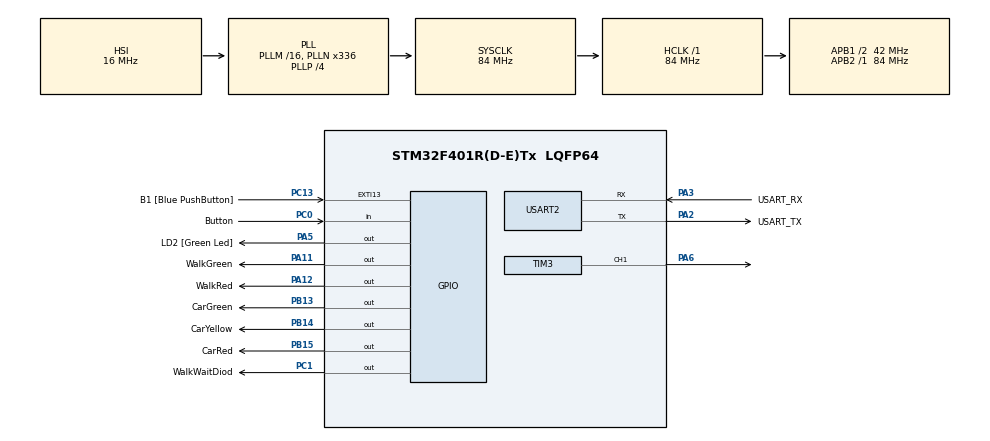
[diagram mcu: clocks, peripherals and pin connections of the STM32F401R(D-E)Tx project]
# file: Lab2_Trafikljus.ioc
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Mcu.Family=STM32F4
Mcu.Name=STM32F401R(D-E)Tx
Mcu.Package=LQFP64
NVIC.EXTI15_10_IRQn=true\:0\:0\:false\:false\:true\:true\:true\:true
NVIC.PriorityGroup=NVIC_PRIORITYGROUP_0
PA11.GPIO_Label=WalkGreen
PA11.Signal=GPIO_Output
PA12.GPIO_Label=WalkRed
PA12.Signal=GPIO_Output
PA13.GPIO_Label=TMS
PA13.Mode=Serial_Wire
PA13.Signal=SYS_JTMS-SWDIO
PA14.GPIO_Label=TCK
PA14.Mode=Serial_Wire
PA14.Signal=SYS_JTCK-SWCLK
PA2.GPIO_Label=USART_TX
PA2.GPIO_Mode=GPIO_MODE_AF_PP
PA2.GPIO_PuPd=GPIO_NOPULL
PA2.GPIO_Speed=GPIO_SPEED_FREQ_LOW
PA2.Mode=Asynchronous
PA2.Signal=USART2_TX
PA3.GPIO_Label=USART_RX
PA3.GPIO_Mode=GPIO_MODE_AF_PP
PA3.GPIO_PuPd=GPIO_NOPULL
PA3.GPIO_Speed=GPIO_SPEED_FREQ_LOW
PA3.Mode=Asynchronous
PA3.Signal=USART2_RX
PA5.GPIO_Label=LD2 [Green Led]
PA5.GPIO_Mode=GPIO_MODE_OUTPUT_PP
PA5.GPIO_PuPd=GPIO_NOPULL
PA5.GPIO_Speed=GPIO_SPEED_FREQ_LOW
PA5.Signal=GPIO_Output
PA6.Signal=S_TIM3_CH1
PB13.GPIO_Label=CarGreen
PB13.Signal=GPIO_Output
PB14.GPIO_Label=CarYellow
PB14.Signal=GPIO_Output
PB15.GPIO_Label=CarRed
PB15.Signal=GPIO_Output
PB3.GPIO_Label=SWO
PB3.Signal=SYS_JTDO-SWO
PC0.GPIO_Label=Button
PC0.Signal=GPIO_Input
PC1.GPIO_Label=WalkWaitDiod
PC1.Signal=GPIO_Output
PC13-ANTI_TAMP.GPIO_Label=B1 [Blue PushButton]
PC13-ANTI_TAMP.GPIO_ModeDefaultEXTI=GPIO_MODE_IT_FALLING
PC13-ANTI_TAMP.GPIO_PuPd=GPIO_NOPULL
PC13-ANTI_TAMP.Signal=GPXTI13
PC14-OSC32_IN.Mode=LSE-External-Oscillator
PC14-OSC32_IN.Signal=RCC_OSC32_IN
PC15-OSC32_OUT.Mode=LSE-External-Oscillator
PC15-OSC32_OUT.Signal=RCC_OSC32_OUT
PH0\ -\ OSC_IN.Mode=HSE-External-Clock-Source
PH0\ -\ OSC_IN.Signal=RCC_OSC_IN
PH1\ -\ OSC_OUT.Mode=HSE-External-Clock-Source
PH1\ -\ OSC_OUT.Signal=RCC_OSC_OUT
ProjectManager.HeapSize=0x200
ProjectManager.StackSize=0x400
ProjectManager.TargetToolchain=STM32CubeIDE
RCC.48MHZClocksFreq_Value=48000000
RCC.AHBFreq_Value=84000000
RCC.APB1CLKDivider=RCC_HCLK_DIV2
RCC.APB1Freq_Value=42000000
RCC.APB1TimFreq_Value=84000000
RCC.APB2Freq_Value=84000000
RCC.APB2TimFreq_Value=84000000
RCC.CortexFreq_Value=84000000
RCC.HCLKFreq_Value=84000000
RCC.HSE_VALUE=8000000
RCC.HSI_VALUE=16000000
RCC.PLLN=336
RCC.PLLP=RCC_PLLP_DIV4
RCC.PLLQ=7
RCC.SYSCLKFreq_VALUE=84000000
RCC.SYSCLKSource=RCC_SYSCLKSOURCE_PLLCLK
RCC.VCOOutputFreq_Value=336000000
SH.S_TIM3_CH1.0=TIM3_CH1,PWM Generation1 CH1
TIM3.Channel-PWM\ Generation1\ CH1=TIM_CHANNEL_1
USART2.VirtualMode=VM_ASYNC
VP_TIM3_VS_ClockSourceINT.Mode=Internal
board=NUCLEO-F401RE

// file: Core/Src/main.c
/* USER CODE BEGIN Header */
/**
  ******************************************************************************
  * @file           : main.c
  * @brief          : Main program body
  ******************************************************************************
  * @attention
  *
  * Copyright (c) 2024 STMicroelectronics.
  * All rights reserved.
  *
  * This software is licensed under terms that can be found in the LICENSE file
  * in the root directory of this software component.
  * If no LICENSE file comes with this software, it is provided AS-IS.
  *
  ******************************************************************************
  */
/* USER CODE END Header */
#include "main.h"
#include "abuzz.h"

TIM_HandleTypeDef htim3;

UART_HandleTypeDef huart2;

void SystemClock_Config(void);
static void MX_GPIO_Init(void);
static void MX_USART2_UART_Init(void);
static void MX_TIM3_Init(void);

/* USER CODE BEGIN PFP */
int systick_count = 0;
uint32_t ticks_left_in_state = 0;
/* USER CODE END PFP */

/* USER CODE BEGIN 0 */
enum event
{
	ev_none = 0,
	ev_button_push,
	ev_state_timeout,
	ev_error = -99
};

#define EVQ_SIZE 10

enum event evq[ EVQ_SIZE ];
int evq_count 		= 0;
int evq_front_ix	= 0;
int evq_rear_ix 	= 0;

enum state
{
	s_init,
	s_car_go,
	s_pushed_wait,
	s_cars_stopping,
	s_walk_go,
	s_walk_wait,
	s_car_ready,
	s_car_start
};

void set_traffic_lights(enum state s)
{
    switch(s)
    {
        case s_init:
            // Sätt alla lampor på

            HAL_GPIO_WritePin(GPIOB, GPIO_PIN_15, GPIO_PIN_SET);
            HAL_GPIO_WritePin(GPIOB, GPIO_PIN_14, GPIO_PIN_SET);
            HAL_GPIO_WritePin(GPIOB, GPIO_PIN_13, GPIO_PIN_SET);
            HAL_GPIO_WritePin(GPIOA, GPIO_PIN_12, GPIO_PIN_SET);
            HAL_GPIO_WritePin(GPIOA, GPIO_PIN_11, GPIO_PIN_SET);

            break;

        case s_car_go:
        	//001 10
            HAL_GPIO_WritePin(GPIOB, GPIO_PIN_15, GPIO_PIN_RESET);
            HAL_GPIO_WritePin(GPIOB, GPIO_PIN_14, GPIO_PIN_RESET);
            HAL_GPIO_WritePin(GPIOB, GPIO_PIN_13, GPIO_PIN_SET);
            HAL_GPIO_WritePin(GPIOA, GPIO_PIN_12, GPIO_PIN_SET);
            HAL_GPIO_WritePin(GPIOA, GPIO_PIN_11, GPIO_PIN_RESET);
            break;

        case s_pushed_wait:
        	//010 10
            HAL_GPIO_WritePin(GPIOB, GPIO_PIN_15, GPIO_PIN_RESET);
            HAL_GPIO_WritePin(GPIOB, GPIO_PIN_14, GPIO_PIN_SET);
            HAL_GPIO_WritePin(GPIOB, GPIO_PIN_13, GPIO_PIN_RESET);
            HAL_GPIO_WritePin(GPIOA, GPIO_PIN_12, GPIO_PIN_SET);
            HAL_GPIO_WritePin(GPIOA, GPIO_PIN_11, GPIO_PIN_RESET);
            break;

        case s_cars_stopping:
        	//100 10
            HAL_GPIO_WritePin(GPIOB, GPIO_PIN_15, GPIO_PIN_SET);
            HAL_GPIO_WritePin(GPIOB, GPIO_PIN_14, GPIO_PIN_RESET);
            HAL_GPIO_WritePin(GPIOB, GPIO_PIN_13, GPIO_PIN_RESET);
            HAL_GPIO_WritePin(GPIOA, GPIO_PIN_12, GPIO_PIN_SET);
            HAL_GPIO_WritePin(GPIOA, GPIO_PIN_11, GPIO_PIN_RESET);
            break;

        case s_walk_go:
        	//100 01
            HAL_GPIO_WritePin(GPIOB, GPIO_PIN_15, GPIO_PIN_SET);
            HAL_GPIO_WritePin(GPIOB, GPIO_PIN_14, GPIO_PIN_RESET);
            HAL_GPIO_WritePin(GPIOB, GPIO_PIN_13, GPIO_PIN_RESET);
            HAL_GPIO_WritePin(GPIOA, GPIO_PIN_12, GPIO_PIN_RESET);
            HAL_GPIO_WritePin(GPIOA, GPIO_PIN_11, GPIO_PIN_SET);
            break;

        case s_walk_wait:
        	//100 10
            HAL_GPIO_WritePin(GPIOB, GPIO_PIN_15, GPIO_PIN_SET);
            HAL_GPIO_WritePin(GPIOB, GPIO_PIN_14, GPIO_PIN_RESET);
            HAL_GPIO_WritePin(GPIOB, GPIO_PIN_13, GPIO_PIN_RESET);
            HAL_GPIO_WritePin(GPIOA, GPIO_PIN_12, GPIO_PIN_SET);
            HAL_GPIO_WritePin(GPIOA, GPIO_PIN_11, GPIO_PIN_RESET);
            break;

        case s_car_ready:
        	//110 10
            HAL_GPIO_WritePin(GPIOB, GPIO_PIN_15, GPIO_PIN_SET);
            HAL_GPIO_WritePin(GPIOB, GPIO_PIN_14, GPIO_PIN_SET);
            HAL_GPIO_WritePin(GPIOB, GPIO_PIN_13, GPIO_PIN_RESET);
            HAL_GPIO_WritePin(GPIOA, GPIO_PIN_12, GPIO_PIN_SET);
            HAL_GPIO_WritePin(GPIOA, GPIO_PIN_11, GPIO_PIN_RESET);
            break;

        case s_car_start:
        	//001 10
            HAL_GPIO_WritePin(GPIOB, GPIO_PIN_15, GPIO_PIN_RESET);
            HAL_GPIO_WritePin(GPIOB, GPIO_PIN_14, GPIO_PIN_RESET);
            HAL_GPIO_WritePin(GPIOB, GPIO_PIN_13, GPIO_PIN_SET);
            HAL_GPIO_WritePin(GPIOA, GPIO_PIN_12, GPIO_PIN_SET);
            HAL_GPIO_WritePin(GPIOA, GPIO_PIN_11, GPIO_PIN_RESET);
            break;

        default:

            break;
    }
}

int is_button_pressed()
{
    uint32_t reg_reading = GPIOC->IDR;
    if((reg_reading & 1 << 13) == 0)
        return 1;
    else
        return 0;
}

/*
void update_tick(uint32_t* last_tick, int* ticks_left_in_state, int* timeout_handled)
{
    uint32_t curr_tick = HAL_GetTick(); // Hämta nuvarande tick-värde

    // Kontrollera om ett nytt tick har gått (1 millisekund)
    if (curr_tick > *last_tick)
        {
            (*last_tick) = curr_tick;  // Uppdatera senast lästa tick

            // Minska ticks_left_in_state om det är större än 0
            if ((*ticks_left_in_state) > 0)
            {
                (*ticks_left_in_state)--;

                // Kontrollera om tiden har nått 0 och om det inte redan är hanterat
                if ((*ticks_left_in_state) == 0 && !(*timeout_handled))
                {
                    (*timeout_handled) = 1;  // Sätt flagga för att undvika dubbelhantering
                }
            }
        }
}
*/

void evq_push_back(enum event e)
{
	//if queue is full, ignore e
	if (evq_count < EVQ_SIZE){
		evq[evq_rear_ix] = e;
		evq_rear_ix++;
		evq_rear_ix%= EVQ_SIZE;
		evq_count++;
	}
}
enum event evq_pop_front()
{
	enum event e = ev_none;
	if (evq_count > 0)
	{
		e = evq[evq_front_ix];
		evq[evq_front_ix] = ev_error;
		evq_front_ix++;
		evq_front_ix %= EVQ_SIZE;
		evq_count--;
	}
	return e;
}

void my_systick_handler()
{
	systick_count++;
	if (systick_count == 1000)
	{
		HAL_GPIO_TogglePin(LD2_GPIO_Port, LD2_Pin);
		systick_count = 0;
	}
	if (ticks_left_in_state > 0) {
		ticks_left_in_state--;
		if(ticks_left_in_state == 0) {
			evq_push_back(ev_state_timeout);
		}
	}
}

void update_tick(  uint32_t *last_tick, uint32_t *ticks_left_in_state, int *timeout_handled )
{

    if(*last_tick == 0){
        *last_tick = HAL_GetTick();

    }

    uint32_t curr_tick = HAL_GetTick();

    // Kontrollera om ett nytt tick har gått (1 millisekund)
    if (curr_tick > *last_tick)
    {
        uint32_t delta = curr_tick - *last_tick;

        *last_tick = curr_tick;  // Uppdatera senast lästa tick

        // Minska ticks_left_in_state om det är större än 0
        if (*ticks_left_in_state > 0)
        {
            if (*ticks_left_in_state > delta ){
                *ticks_left_in_state = *ticks_left_in_state - delta;
            }else{
                *ticks_left_in_state = 0;
            }

            // Kontrollera om tiden har nått 0 och om det inte redan är hanterat
            if (*ticks_left_in_state <= 0 && !(*timeout_handled))
            {
                *timeout_handled = 1;  // Sätt flagga för att undvika dubbelhantering
            }
        }
    }

}

void HAL_GPIO_EXTI_Callback(uint16_t GPIO_Pin)
{
	if (GPIO_Pin == B1_Pin)
	{
		evq_push_back(ev_button_push);
	}
}

void push_button_light_on() {
    HAL_GPIO_WritePin(GPIOA, GPIO_PIN_5, GPIO_PIN_SET);  // Sätt PC0 hög (tänd diod)
}

void push_button_light_off() {
    HAL_GPIO_WritePin(GPIOA, GPIO_PIN_5, GPIO_PIN_RESET);  // Sätt PC0 låg (släck diod)
}
/* USER CODE END 0 */

int main(void)
{

  /* MCU Configuration--------------------------------------------------------*/

  /* Reset of all peripherals, Initializes the Flash interface and the Systick. */
  HAL_Init();

  /* Configure the system clock */
  SystemClock_Config();

  /* Initialize all configured peripherals */
  MX_GPIO_Init();
  MX_USART2_UART_Init();
  MX_TIM3_Init();
  /* USER CODE BEGIN 2 */

  enum state st = s_init;
  //enum state next_st = st;  // Variabel för nästa tillstånd
  enum event ev = ev_none;

  int curr_press = is_button_pressed();
  int last_press = curr_press;

//  uint32_t last_tick = 0;           	 // Håller koll på senaste tick från HAL_GetTick()
//  uint32_t ticks_left_in_state = 0;       // Hur många ticks som är kvar innan timeout
//  int timeout_handled = 0;           	// Flagga för att säkerställa att ev_state_timeout bara genereras en gång
  //uint32_t curr_tick;

  /* USER CODE END 2 */

  /* Infinite loop */
  /* USER CODE BEGIN WHILE */
  while (1)
    {

	  	  //abuzz_start();
  	  /*curr_tick = HAL_GetTick();
  	  if (curr_tick != last_tick) {
  		  ticks_left_in_state--;
  	  }*/

	 /*    // Kolla efter knapptryckning (positiv flank

	  	  if (is_button_pressed()&& (st == s_init || st == s_car_go))
	  	  {
	  		ev = ev_button_push;
	  	  }
	 */
	  curr_press = is_button_pressed();
	  if(curr_press && !last_press)
	  {
		  evq_push_back(ev_button_push);
	  }
	  last_press = curr_press;

	  	  ev = evq_pop_front();

	  	 /* update_tick(&last_tick, &ticks_left_in_state, &timeout_handled);

	  	* if (ticks_left_in_state == 0 && timeout_handled)
	  	  {
	  		ev = ev_state_timeout;
	  		timeout_handled = 0;  // Återställ flaggan efter att eventet har genererats

	  	  }
	  	  */

	  	  switch(st)
	  	      {
	  	          case s_init:
	  	              // Alla lampor tända (111 11)
	  	              set_traffic_lights(s_init);  // Tänder alla lampor

	  	              if (ev == ev_button_push) {
	  	            	  ev = ev_none;
	  	            	  st = s_cars_stopping;
	  	                  set_traffic_lights(st);
	  	                  ticks_left_in_state = 2000;
	  	              }
	  	              break;

	  	          case s_car_go:
	  	        	  //001 10
	  	              if (ev == ev_button_push) {
	  	            	  ev = ev_none;
	  	            	  st = s_pushed_wait;
	  	                  set_traffic_lights(st);
	  	                  push_button_light_on();

	  	                  ticks_left_in_state = 2000;
	  	              }
	  	              break;

	  	          case s_pushed_wait:
	  	        	  //010 10
	  	              if (ev == ev_state_timeout) {
	  	            	  ev = ev_none;
	  	            	  st = s_cars_stopping;
	  	                  set_traffic_lights(st);

	  	                  ticks_left_in_state = 2000;
	  	              }
	  	              break;

	  	          case s_cars_stopping:
	  	        	  //100 10
	  	              if (ev == ev_state_timeout) {
	  	            	  ev = ev_none;
	  	                  st = s_walk_go;
	  	                  set_traffic_lights(st);
	  	                  push_button_light_off();

	  	                  ticks_left_in_state = 3000;
	  	              }
	  	              break;

	  	          case s_walk_go:
	  	        	  //100 01
	  	              if (ev == ev_state_timeout) {
	  	            	  ev = ev_none;
	  	                  st = s_walk_wait;
	  	                  set_traffic_lights(st);

	  	                  ticks_left_in_state = 2000;
	  	              }
	  	              break;

	  	          case s_walk_wait:
	  	        	  //100 10
	  	              if (ev == ev_state_timeout) {
	  	            	  ev = ev_none;
	  	                  st = s_car_ready;
	  	                  set_traffic_lights(st);

	  	                  ticks_left_in_state = 2000;
	  	              }
	  	              break;

	  	          case s_car_ready:
	  	        	  //110 10
	  	              if (ev == ev_state_timeout) {
	  	            	  ev = ev_none;
	  	                  st = s_car_start;
	  	                  set_traffic_lights(st);

	  	                  ticks_left_in_state = 1000;
	  	              }
	  	              break;

	  	          case s_car_start:
	  	        	  //110 10
	  	              if (ev == ev_state_timeout) {
	  	            	  ev = ev_none;
	  	                  st = s_car_go;
	  	                  set_traffic_lights(st);

	  	                  ticks_left_in_state = 2000;

	  	              }
	  	              break;

	  	          default:
	  	              // Fallback tillstånd
	  	              break;
	  	      }

	 /*
	  	update_tick(&last_tick, &ticks_left_in_state, &timeout_handled);

	  if(timeout_handled == 1 && (st != s_init && st != s_car_go))
	  {
		ev = ev_state_timeout;
		timeout_handled = 0;
	  }else{
		ev = ev_none;
	  }
 */

      /* USER CODE END WHILE */

    }
  }
void SystemClock_Config(void)
{
  RCC_OscInitTypeDef RCC_OscInitStruct = {0};
  RCC_ClkInitTypeDef RCC_ClkInitStruct = {0};

  /** Configure the main internal regulator output voltage
  */
  __HAL_RCC_PWR_CLK_ENABLE();
  __HAL_PWR_VOLTAGESCALING_CONFIG(PWR_REGULATOR_VOLTAGE_SCALE2);

  /** Initializes the RCC Oscillators according to the specified parameters
  * in the RCC_OscInitTypeDef structure.
  */
  RCC_OscInitStruct.OscillatorType = RCC_OSCILLATORTYPE_HSI;
  RCC_OscInitStruct.HSIState = RCC_HSI_ON;
  RCC_OscInitStruct.HSICalibrationValue = RCC_HSICALIBRATION_DEFAULT;
  RCC_OscInitStruct.PLL.PLLState = RCC_PLL_ON;
  RCC_OscInitStruct.PLL.PLLSource = RCC_PLLSOURCE_HSI;
  RCC_OscInitStruct.PLL.PLLM = 16;
  RCC_OscInitStruct.PLL.PLLN = 336;
  RCC_OscInitStruct.PLL.PLLP = RCC_PLLP_DIV4;
  RCC_OscInitStruct.PLL.PLLQ = 7;
  if (HAL_RCC_OscConfig(&RCC_OscInitStruct) != HAL_OK)
  {
    Error_Handler();
  }

  /** Initializes the CPU, AHB and APB buses clocks
  */
  RCC_ClkInitStruct.ClockType = RCC_CLOCKTYPE_HCLK|RCC_CLOCKTYPE_SYSCLK
                              |RCC_CLOCKTYPE_PCLK1|RCC_CLOCKTYPE_PCLK2;
  RCC_ClkInitStruct.SYSCLKSource = RCC_SYSCLKSOURCE_PLLCLK;
  RCC_ClkInitStruct.AHBCLKDivider = RCC_SYSCLK_DIV1;
  RCC_ClkInitStruct.APB1CLKDivider = RCC_HCLK_DIV2;
  RCC_ClkInitStruct.APB2CLKDivider = RCC_HCLK_DIV1;

  if (HAL_RCC_ClockConfig(&RCC_ClkInitStruct, FLASH_LATENCY_2) != HAL_OK)
  {
    Error_Handler();
  }
}

static void MX_TIM3_Init(void)
{

  /* USER CODE BEGIN TIM3_Init 0 */
  HAL_TIM_PWM_Start(&htim3, TIM_CHANNEL_1);
  /* USER CODE END TIM3_Init 0 */

  TIM_ClockConfigTypeDef sClockSourceConfig = {0};
  TIM_MasterConfigTypeDef sMasterConfig = {0};
  TIM_OC_InitTypeDef sConfigOC = {0};

  htim3.Instance = TIM3;
  htim3.Init.Prescaler = 0;
  htim3.Init.CounterMode = TIM_COUNTERMODE_UP;
  htim3.Init.Period = 65535;
  htim3.Init.ClockDivision = TIM_CLOCKDIVISION_DIV1;
  htim3.Init.AutoReloadPreload = TIM_AUTORELOAD_PRELOAD_DISABLE;
  if (HAL_TIM_Base_Init(&htim3) != HAL_OK)
  {
    Error_Handler();
  }
  sClockSourceConfig.ClockSource = TIM_CLOCKSOURCE_INTERNAL;
  if (HAL_TIM_ConfigClockSource(&htim3, &sClockSourceConfig) != HAL_OK)
  {
    Error_Handler();
  }
  if (HAL_TIM_PWM_Init(&htim3) != HAL_OK)
  {
    Error_Handler();
  }
  sMasterConfig.MasterOutputTrigger = TIM_TRGO_RESET;
  sMasterConfig.MasterSlaveMode = TIM_MASTERSLAVEMODE_DISABLE;
  if (HAL_TIMEx_MasterConfigSynchronization(&htim3, &sMasterConfig) != HAL_OK)
  {
    Error_Handler();
  }
  sConfigOC.OCMode = TIM_OCMODE_PWM1;
  sConfigOC.Pulse = 0;
  sConfigOC.OCPolarity = TIM_OCPOLARITY_HIGH;
  sConfigOC.OCFastMode = TIM_OCFAST_DISABLE;
  if (HAL_TIM_PWM_ConfigChannel(&htim3, &sConfigOC, TIM_CHANNEL_1) != HAL_OK)
  {
    Error_Handler();
  }
  HAL_TIM_MspPostInit(&htim3);

}

static void MX_USART2_UART_Init(void)
{

  huart2.Instance = USART2;
  huart2.Init.BaudRate = 115200;
  huart2.Init.WordLength = UART_WORDLENGTH_8B;
  huart2.Init.StopBits = UART_STOPBITS_1;
  huart2.Init.Parity = UART_PARITY_NONE;
  huart2.Init.Mode = UART_MODE_TX_RX;
  huart2.Init.HwFlowCtl = UART_HWCONTROL_NONE;
  huart2.Init.OverSampling = UART_OVERSAMPLING_16;
  if (HAL_UART_Init(&huart2) != HAL_OK)
  {
    Error_Handler();
  }

}

static void MX_GPIO_Init(void)
{
  GPIO_InitTypeDef GPIO_InitStruct = {0};

  /* GPIO Ports Clock Enable */
  __HAL_RCC_GPIOC_CLK_ENABLE();
  __HAL_RCC_GPIOH_CLK_ENABLE();
  __HAL_RCC_GPIOA_CLK_ENABLE();
  __HAL_RCC_GPIOB_CLK_ENABLE();

  /*Configure GPIO pin Output Level */
  HAL_GPIO_WritePin(GPIOA, LD2_Pin|WalkGreen_Pin|WalkRed_Pin, GPIO_PIN_RESET);

  /*Configure GPIO pin Output Level */
  HAL_GPIO_WritePin(GPIOB, CarGreen_Pin|CarYellow_Pin|CarRed_Pin, GPIO_PIN_RESET);

  /*Configure GPIO pin : B1_Pin */
  GPIO_InitStruct.Pin = B1_Pin;
  GPIO_InitStruct.Mode = GPIO_MODE_IT_FALLING;
  GPIO_InitStruct.Pull = GPIO_NOPULL;
  HAL_GPIO_Init(B1_GPIO_Port, &GPIO_InitStruct);

  /*Configure GPIO pin : Button_Pin */
  GPIO_InitStruct.Pin = Button_Pin;
  GPIO_InitStruct.Mode = GPIO_MODE_INPUT;
  GPIO_InitStruct.Pull = GPIO_NOPULL;
  HAL_GPIO_Init(Button_GPIO_Port, &GPIO_InitStruct);

  /*Configure GPIO pins : LD2_Pin WalkGreen_Pin WalkRed_Pin */
  GPIO_InitStruct.Pin = LD2_Pin|WalkGreen_Pin|WalkRed_Pin;
  GPIO_InitStruct.Mode = GPIO_MODE_OUTPUT_PP;
  GPIO_InitStruct.Pull = GPIO_NOPULL;
  GPIO_InitStruct.Speed = GPIO_SPEED_FREQ_LOW;
  HAL_GPIO_Init(GPIOA, &GPIO_InitStruct);

  /*Configure GPIO pins : CarGreen_Pin CarYellow_Pin CarRed_Pin */
  GPIO_InitStruct.Pin = CarGreen_Pin|CarYellow_Pin|CarRed_Pin;
  GPIO_InitStruct.Mode = GPIO_MODE_OUTPUT_PP;
  GPIO_InitStruct.Pull = GPIO_NOPULL;
  GPIO_InitStruct.Speed = GPIO_SPEED_FREQ_LOW;
  HAL_GPIO_Init(GPIOB, &GPIO_InitStruct);

}

void Error_Handler(void)
{
  __disable_irq();
  while (1)
  {
  }
}
